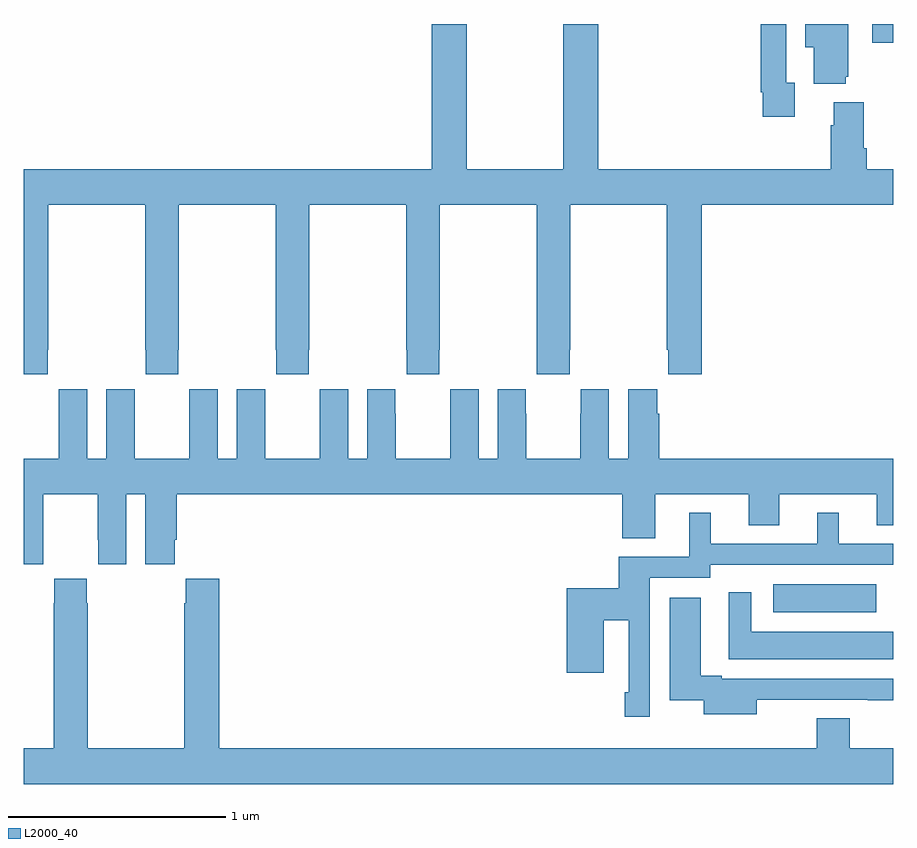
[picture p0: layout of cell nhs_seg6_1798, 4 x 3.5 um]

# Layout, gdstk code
import gdstk
lib = gdstk.Library(unit=1e-6, precision=1e-09)
def R(c, l, rs):  # rectangles x0, y0, x1, y1
    for r in rs: c.add(gdstk.rectangle(r[:2], r[2:], *l))
def P(c, l, *ps):  # polygons
    for p in ps: c.add(gdstk.Polygon(p, *l))
L2000_40 = (2000, 40)

nhs_seg6_1798 = lib.new_cell('nhs_seg6_1798')
R(nhs_seg6_1798, L2000_40, [(222.447,946.793,222.922,946.924), (222.903,949.413,222.999,949.5)])
P(nhs_seg6_1798, L2000_40, [(222.547,949.23),(222.507,949.23),(222.507,949.5),(222.391,949.5),(222.391,949.186),(222.399,949.186),(222.399,949.074),(222.547,949.074)],
  [(222.782,949.257),(222.793,949.257),(222.793,949.5),(222.596,949.5),(222.596,949.394),(222.635,949.394),(222.635,949.226),(222.782,949.226)],
  [(219.111,948.001),(219.114,948.001),(219.114,948.668),(219.559,948.668),(219.559,948.001),(219.561,948.001),(219.561,947.889),(219.711,947.889),(219.711,948.001),(219.714,948.001),(219.714,948.668),(220.159,948.668),(220.159,948.001),(220.161,948.001),(220.161,947.889),(220.311,947.889),(220.311,948.001),(220.314,948.001),(220.314,948.668),(220.759,948.668),(220.759,948.001),(220.761,948.001),(220.761,947.889),(220.911,947.889),(220.911,948.001),(220.914,948.001),(220.914,948.668),(221.359,948.668),(221.359,948.001),(221.361,948.001),(221.361,947.889),(221.511,947.889),(221.511,948.001),(221.514,948.001),(221.514,948.668),(221.959,948.668),(221.959,948.001),(221.965,948.001),(221.965,947.889),(222.119,947.889),(222.119,948.668),(223,948.668),(223,948.832),(222.878,948.832),(222.878,948.928),(222.865,948.928),(222.865,949.141),(222.725,949.141),(222.725,949.034),(222.713,949.034),(222.713,948.832),(221.642,948.832),(221.642,949.5),(221.482,949.5),(221.482,948.832),(221.037,948.832),(221.037,949.5),(220.877,949.5),(220.877,948.832),(219,948.832),(219,947.889),(219.111,947.889)],
  [(219.09,947.128),(219.091,947.128),(219.091,947.336),(219.341,947.336),(219.341,947.128),(219.342,947.128),(219.342,947.016),(219.472,947.016),(219.472,947.336),(219.56,947.336),(219.56,947.016),(219.694,947.016),(219.694,947.128),(219.704,947.128),(219.704,947.336),(221.753,947.336),(221.753,947.134),(221.905,947.134),(221.905,947.336),(222.335,947.336),(222.335,947.194),(222.475,947.194),(222.475,947.336),(222.923,947.336),(222.923,947.194),(223,947.194),(223,947.5),(221.924,947.5),(221.924,947.708),(221.914,947.708),(221.914,947.821),(221.78,947.821),(221.78,947.5),(221.692,947.5),(221.692,947.821),(221.562,947.821),(221.562,947.708),(221.561,947.708),(221.561,947.5),(221.311,947.5),(221.311,947.708),(221.31,947.708),(221.31,947.821),(221.18,947.821),(221.18,947.5),(221.092,947.5),(221.092,947.821),(220.962,947.821),(220.962,947.708),(220.961,947.708),(220.961,947.5),(220.711,947.5),(220.711,947.708),(220.71,947.708),(220.71,947.821),(220.58,947.821),(220.58,947.5),(220.492,947.5),(220.492,947.821),(220.362,947.821),(220.362,947.708),(220.361,947.708),(220.361,947.5),(220.111,947.5),(220.111,947.708),(220.11,947.708),(220.11,947.821),(219.98,947.821),(219.98,947.5),(219.892,947.5),(219.892,947.821),(219.762,947.821),(219.762,947.708),(219.761,947.708),(219.761,947.5),(219.511,947.5),(219.511,947.708),(219.51,947.708),(219.51,947.821),(219.38,947.821),(219.38,947.5),(219.292,947.5),(219.292,947.821),(219.162,947.821),(219.162,947.708),(219.161,947.708),(219.161,947.5),(219,947.5),(219,947.016),(219.09,947.016)],
  [(221.88,946.953),(222.159,946.953),(222.159,947.013),(223,947.013),(223,947.109),(222.748,947.109),(222.748,947.251),(222.65,947.251),(222.65,947.109),(222.16,947.109),(222.16,947.251),(222.062,947.251),(222.062,947.049),(221.738,947.049),(221.738,946.905),(221.498,946.905),(221.498,946.515),(221.668,946.515),(221.668,946.757),(221.784,946.757),(221.784,946.426),(221.764,946.426),(221.764,946.314),(221.88,946.314)],
  [(223,946.168),(222.8,946.168),(222.8,946.307),(222.647,946.307),(222.647,946.168),(219.899,946.168),(219.899,946.948),(219.745,946.948),(219.745,946.835),(219.739,946.835),(219.739,946.168),(219.294,946.168),(219.294,946.835),(219.291,946.835),(219.291,946.948),(219.141,946.948),(219.141,946.835),(219.139,946.835),(219.139,946.168),(219,946.168),(219,946.004),(223,946.004)],
  [(223,946.705),(222.346,946.705),(222.346,946.885),(222.242,946.885),(222.242,946.577),(223,946.577)],
  [(222.373,946.392),(222.883,946.392),(222.883,946.39),(223,946.39),(223,946.488),(222.211,946.488),(222.211,946.501),(222.115,946.501),(222.115,946.861),(221.972,946.861),(221.972,946.39),(222.128,946.39),(222.128,946.325),(222.373,946.325)])

lib.write_gds('nhs_seg6_1798.gds')
